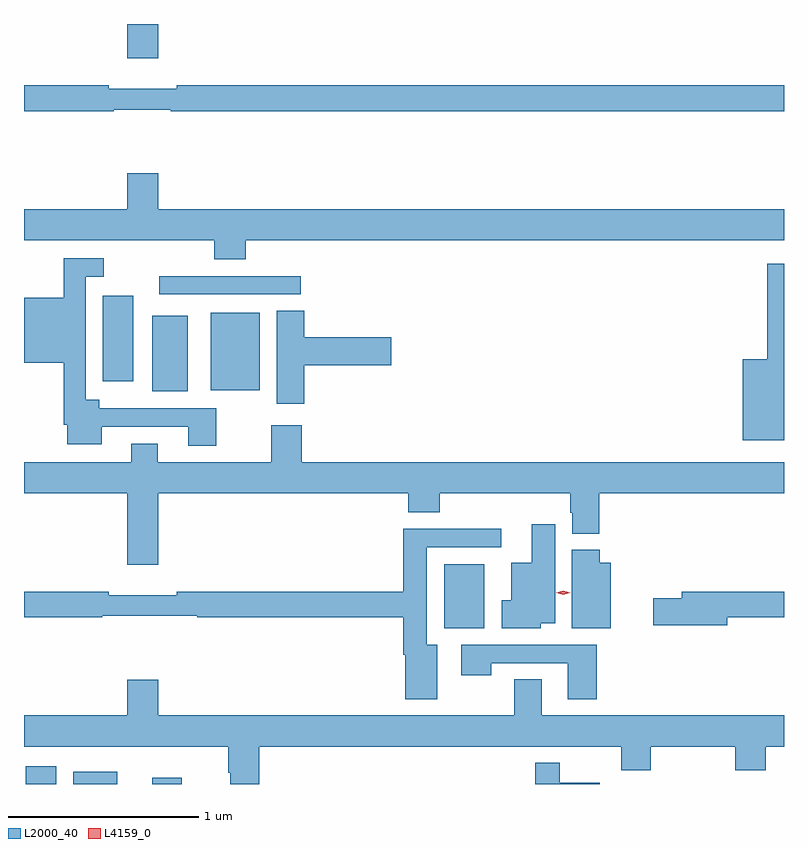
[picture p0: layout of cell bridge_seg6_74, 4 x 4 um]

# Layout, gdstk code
import gdstk
lib = gdstk.Library(unit=1e-6, precision=1e-09)
def R(c, l, rs):  # rectangles x0, y0, x1, y1
    for r in rs: c.add(gdstk.rectangle(r[:2], r[2:], *l))
def P(c, l, *ps):  # polygons
    for p in ps: c.add(gdstk.Polygon(p, *l))
L2000_40 = (2000, 40)
L4159_0 = (4159, 0)

bridge_seg6_74 = lib.new_cell('bridge_seg6_74')
R(bridge_seg6_74, L2000_40, [(823.814,952.467,823.975,952.561), (824.064,952.467,824.296,952.531), (824.48,952.467,824.635,952.501), (826.016,953.288,826.228,953.623), (824.48,954.533,824.668,954.931), (824.789,954.539,825.046,954.946), (824.219,954.588,824.38,955.036), (824.517,955.044,825.262,955.14), (824.348,956.286,824.512,956.467)])
P(bridge_seg6_74, L2000_40, [(824.278,956.016),(824.578,956.016),(824.578,956.008),(827.805,956.008),(827.805,956.144),(824.608,956.144),(824.608,956.125),(824.252,956.125),(824.252,956.144),(823.805,956.144),(823.805,956.008),(824.278,956.008)],
  [(824.972,955.328),(827.805,955.328),(827.805,955.492),(824.512,955.492),(824.512,955.681),(824.348,955.681),(824.348,955.492),(823.805,955.492),(823.805,955.328),(824.807,955.328),(824.807,955.229),(824.972,955.229)],
  [(824.817,954.444),(824.2,954.444),(824.2,954.49),(824.13,954.49),(824.13,954.787),(824.131,954.787),(824.131,955.137),(824.224,955.137),(824.224,955.233),(824.014,955.233),(824.014,955.027),(823.805,955.027),(823.805,954.683),(824.014,954.683),(824.014,954.358),(824.033,954.358),(824.033,954.254),(824.215,954.254),(824.215,954.348),(824.669,954.348),(824.669,954.246),(824.817,954.246)],
  [(827.805,955.204),(827.718,955.204),(827.718,954.703),(827.588,954.703),(827.588,954.275),(827.805,954.275)],
  [(825.281,954.671),(825.739,954.671),(825.739,954.818),(825.281,954.818),(825.281,954.959),(825.134,954.959),(825.134,954.468),(825.281,954.468)],
  [(824.512,953.996),(825.827,953.996),(825.827,953.897),(825.992,953.897),(825.992,953.996),(826.679,953.996),(826.679,953.895),(826.691,953.895),(826.691,953.785),(826.832,953.785),(826.832,953.996),(827.805,953.996),(827.805,954.16),(825.266,954.16),(825.266,954.355),(825.106,954.355),(825.106,954.16),(824.509,954.16),(824.509,954.259),(824.369,954.259),(824.369,954.16),(823.805,954.16),(823.805,953.996),(824.348,953.996),(824.348,953.622),(824.512,953.622)],
  [(826.524,953.312),(826.6,953.312),(826.6,953.833),(826.478,953.833),(826.478,953.632),(826.37,953.632),(826.37,953.434),(826.319,953.434),(826.319,953.288),(826.524,953.288)],
  [(825.979,953.2),(825.925,953.2),(825.925,953.712),(826.318,953.712),(826.318,953.81),(825.8,953.81),(825.8,953.48),(824.608,953.48),(824.608,953.461),(824.252,953.461),(824.252,953.48),(823.805,953.48),(823.805,953.344),(824.217,953.344),(824.217,953.352),(824.716,953.352),(824.716,953.344),(825.8,953.344),(825.8,953.147),(825.812,953.147),(825.812,952.914),(825.979,952.914)],
  [(826.894,953.632),(826.835,953.632),(826.835,953.7),(826.688,953.7),(826.688,953.288),(826.894,953.288)],
  [(827.506,953.344),(827.805,953.344),(827.805,953.48),(827.267,953.48),(827.267,953.444),(827.118,953.444),(827.118,953.302),(827.506,953.302)],
  [(826.82,953.199),(826.107,953.199),(826.107,953.04),(826.263,953.04),(826.263,953.103),(826.667,953.103),(826.667,952.914),(826.82,952.914)],
  [(825.044,952.664),(826.948,952.664),(826.948,952.54),(827.103,952.54),(827.103,952.664),(827.548,952.664),(827.548,952.54),(827.708,952.54),(827.708,952.664),(827.805,952.664),(827.805,952.828),(826.531,952.828),(826.531,953.018),(826.384,953.018),(826.384,952.828),(824.512,952.828),(824.512,953.017),(824.348,953.017),(824.348,952.828),(823.805,952.828),(823.805,952.664),(824.879,952.664),(824.879,952.526),(824.891,952.526),(824.891,952.467),(825.044,952.467)],
  [(826.836,952.474),(826.624,952.474),(826.624,952.579),(826.495,952.579),(826.495,952.467),(826.836,952.467)])
P(bridge_seg6_74, L4159_0, [(826.644,953.463),(826.606,953.473),(826.606,953.473),(826.606,953.473),(826.644,953.483),(826.681,953.473),(826.681,953.473),(826.681,953.473)])

lib.write_gds('bridge_seg6_74.gds')
